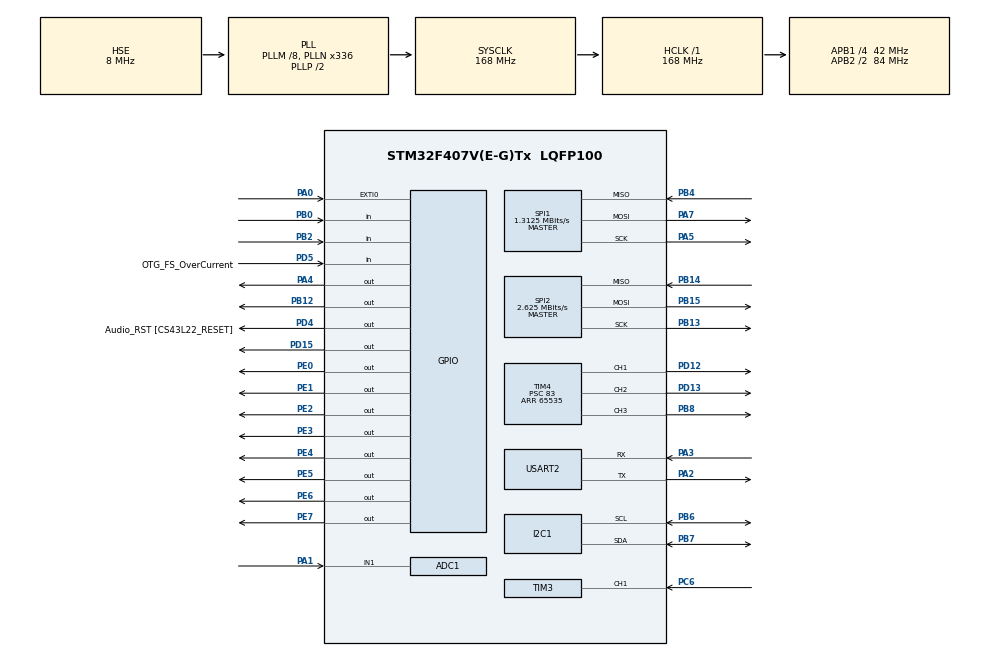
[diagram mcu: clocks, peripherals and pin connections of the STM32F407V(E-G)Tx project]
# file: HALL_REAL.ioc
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ADC1.Channel-0\#ChannelRegularConversion=ADC_CHANNEL_1
ADC1.NbrOfConversion=1
ADC1.NbrOfConversionFlag=1
ADC1.Rank-0\#ChannelRegularConversion=1
ADC1.SamplingTime-0\#ChannelRegularConversion=ADC_SAMPLETIME_3CYCLES
ADC1.master=1
FATFS._USE_LFN=1
I2C1.I2C_Mode=I2C_Fast
Mcu.Family=STM32F4
Mcu.Name=STM32F407V(E-G)Tx
Mcu.Package=LQFP100
NVIC.EXTI0_IRQn=true\:0\:0\:false\:false\:true\:true\:true\:true
NVIC.PriorityGroup=NVIC_PRIORITYGROUP_0
NVIC.TIM3_IRQn=true\:0\:0\:false\:false\:true\:true\:true\:true
NVIC.TIM7_IRQn=true\:0\:0\:false\:true\:true\:2\:true\:true\:true
NVIC.USART2_IRQn=true\:0\:0\:false\:false\:true\:true\:true\:true
PA0-WKUP.Signal=GPXTI0
PA1.Signal=ADCx_IN1
PA10.GPIO_Label=OTG_FS_ID
PA10.GPIO_Mode=GPIO_MODE_AF_PP
PA10.GPIO_PuPd=GPIO_NOPULL
PA10.GPIO_Speed=GPIO_SPEED_FREQ_LOW
PA10.Signal=USB_OTG_FS_ID
PA11.GPIO_Label=OTG_FS_DM
PA11.GPIO_Mode=GPIO_MODE_AF_PP
PA11.GPIO_PuPd=GPIO_NOPULL
PA11.GPIO_Speed=GPIO_SPEED_FREQ_LOW
PA11.Signal=USB_OTG_FS_DM
PA12.GPIO_Label=OTG_FS_DP
PA12.GPIO_Mode=GPIO_MODE_AF_PP
PA12.GPIO_PuPd=GPIO_NOPULL
PA12.GPIO_Speed=GPIO_SPEED_FREQ_LOW
PA12.Signal=USB_OTG_FS_DP
PA13.GPIO_Label=SWDIO
PA13.Mode=Serial_Wire
PA13.Signal=SYS_JTMS-SWDIO
PA14.GPIO_Label=SWCLK
PA14.Mode=Serial_Wire
PA14.Signal=SYS_JTCK-SWCLK
PA2.Mode=Asynchronous
PA2.Signal=USART2_TX
PA3.Mode=Asynchronous
PA3.Signal=USART2_RX
PA4.Signal=GPIO_Output
PA5.Mode=Full_Duplex_Master
PA5.Signal=SPI1_SCK
PA7.Mode=Full_Duplex_Master
PA7.Signal=SPI1_MOSI
PA9.GPIO_Label=VBUS_FS
PA9.GPIO_Mode=GPIO_MODE_INPUT
PA9.GPIO_PuPd=GPIO_NOPULL
PA9.Signal=USB_OTG_FS_VBUS
PB0.Signal=GPIO_Input
PB10.GPIO_Label=CLK_IN [MP45DT02_CLK]
PB10.GPIO_Mode=GPIO_MODE_AF_PP
PB10.GPIO_PuPd=GPIO_NOPULL
PB10.GPIO_Speed=GPIO_SPEED_FREQ_LOW
PB10.Signal=I2S2_CK
PB12.Signal=GPIO_Output
PB13.Mode=Full_Duplex_Master
PB13.Signal=SPI2_SCK
PB14.Mode=Full_Duplex_Master
PB14.Signal=SPI2_MISO
PB15.Mode=Full_Duplex_Master
PB15.Signal=SPI2_MOSI
PB2.Signal=GPIO_Input
PB3.GPIO_Label=SWO
PB3.Signal=SYS_JTDO-SWO
PB4.Mode=Full_Duplex_Master
PB4.Signal=SPI1_MISO
PB6.Mode=I2C
PB6.Signal=I2C1_SCL
PB7.Mode=I2C
PB7.Signal=I2C1_SDA
PB8.Signal=S_TIM4_CH3
PC10.GPIO_Label=I2S3_SCK [CS43L22_SCLK]
PC10.GPIO_Mode=GPIO_MODE_AF_PP
PC10.GPIO_PuPd=GPIO_NOPULL
PC10.GPIO_Speed=GPIO_SPEED_FREQ_LOW
PC10.Signal=I2S3_CK
PC12.GPIO_Label=I2S3_SD [CS43L22_SDIN]
PC12.GPIO_Mode=GPIO_MODE_AF_PP
PC12.GPIO_PuPd=GPIO_NOPULL
PC12.GPIO_Speed=GPIO_SPEED_FREQ_LOW
PC12.Signal=I2S3_SD
PC14-OSC32_IN.GPIO_Label=PC14-OSC32_IN
PC14-OSC32_IN.Mode=LSE-External-Oscillator
PC14-OSC32_IN.Signal=RCC_OSC32_IN
PC15-OSC32_OUT.GPIO_Label=PC15-OSC32_OUT
PC15-OSC32_OUT.Mode=LSE-External-Oscillator
PC15-OSC32_OUT.Signal=RCC_OSC32_OUT
PC6.Signal=S_TIM3_CH1
PC7.GPIO_Label=I2S3_MCK [CS43L22_MCLK]
PC7.GPIO_Mode=GPIO_MODE_AF_PP
PC7.GPIO_PuPd=GPIO_NOPULL
PC7.GPIO_Speed=GPIO_SPEED_FREQ_LOW
PC7.Signal=I2S3_MCK
PD12.Signal=S_TIM4_CH1
PD13.Signal=S_TIM4_CH2
PD15.Signal=GPIO_Output
PD4.GPIO_Label=Audio_RST [CS43L22_RESET]
PD4.GPIO_PuPd=GPIO_NOPULL
PD4.GPIO_Speed=GPIO_SPEED_FREQ_LOW
PD4.Signal=GPIO_Output
PD5.GPIO_Label=OTG_FS_OverCurrent
PD5.GPIO_Mode=GPIO_MODE_INPUT
PD5.GPIO_PuPd=GPIO_NOPULL
PD5.Signal=GPIO_Input
PE0.Signal=GPIO_Output
PE1.Signal=GPIO_Output
PE2.Signal=GPIO_Output
PE3.Signal=GPIO_Output
PE4.Signal=GPIO_Output
PE5.Signal=GPIO_Output
PE6.Signal=GPIO_Output
PE7.Signal=GPIO_Output
PH0-OSC_IN.GPIO_Label=PH0-OSC_IN
PH0-OSC_IN.Mode=HSE-External-Oscillator
PH0-OSC_IN.Signal=RCC_OSC_IN
PH1-OSC_OUT.GPIO_Label=PH1-OSC_OUT
PH1-OSC_OUT.Mode=HSE-External-Oscillator
PH1-OSC_OUT.Signal=RCC_OSC_OUT
ProjectManager.HeapSize=0x200
ProjectManager.StackSize=0x400
ProjectManager.TargetToolchain=STM32CubeIDE
RCC.48MHZClocksFreq_Value=48000000
RCC.AHBFreq_Value=168000000
RCC.APB1CLKDivider=RCC_HCLK_DIV4
RCC.APB1Freq_Value=42000000
RCC.APB1TimFreq_Value=84000000
RCC.APB2CLKDivider=RCC_HCLK_DIV2
RCC.APB2Freq_Value=84000000
RCC.APB2TimFreq_Value=168000000
RCC.CortexFreq_Value=168000000
RCC.HCLKFreq_Value=168000000
RCC.HSE_VALUE=8000000
RCC.HSI_VALUE=16000000
RCC.PLLM=8
RCC.PLLN=336
RCC.PLLQ=7
RCC.PLLSourceVirtual=RCC_PLLSOURCE_HSE
RCC.SYSCLKFreq_VALUE=168000000
RCC.SYSCLKSource=RCC_SYSCLKSOURCE_PLLCLK
RCC.VCOOutputFreq_Value=336000000
SH.ADCx_IN1.0=ADC1_IN1,IN1
SH.S_TIM3_CH1.0=TIM3_CH1,Input_Capture1_from_TI1
SH.S_TIM4_CH1.0=TIM4_CH1,PWM Generation1 CH1
SH.S_TIM4_CH2.0=TIM4_CH2,PWM Generation2 CH2
SH.S_TIM4_CH3.0=TIM4_CH3,PWM Generation3 CH3
SPI1.BaudRatePrescaler=SPI_BAUDRATEPRESCALER_64
SPI1.CLKPhase=SPI_PHASE_1EDGE
SPI1.CLKPolarity=SPI_POLARITY_LOW
SPI1.CalculateBaudRate=1.3125 MBits/s
SPI1.Direction=SPI_DIRECTION_2LINES
SPI1.Mode=SPI_MODE_MASTER
SPI1.VirtualType=VM_MASTER
SPI2.BaudRatePrescaler=SPI_BAUDRATEPRESCALER_16
SPI2.CalculateBaudRate=2.625 MBits/s
SPI2.Direction=SPI_DIRECTION_2LINES
SPI2.Mode=SPI_MODE_MASTER
SPI2.VirtualType=VM_MASTER
TIM10.Channel=TIM_CHANNEL_1
TIM10.Period=10000-1
TIM10.Prescaler=335
TIM10.Pulse=100
TIM2.Period=1000-1
TIM2.Prescaler=167
TIM3.Channel-Input_Capture1_from_TI1=TIM_CHANNEL_1
TIM3.Prescaler=83
TIM4.Channel-PWM\ Generation1\ CH1=TIM_CHANNEL_1
TIM4.Channel-PWM\ Generation2\ CH2=TIM_CHANNEL_2
TIM4.Channel-PWM\ Generation3\ CH3=TIM_CHANNEL_3
TIM4.Period=65535
TIM4.Prescaler=83
TIM4.Pulse-PWM\ Generation1\ CH1=21000-1
TIM4.Pulse-PWM\ Generation2\ CH2=10500-1
TIM4.Pulse-PWM\ Generation3\ CH3=5250-1
TIM5.Period=10000-1
TIM5.Prescaler=84-1
TIM7.Period=99
TIM7.Prescaler=8399
USART2.VirtualMode=VM_ASYNC
VP_FATFS_VS_Generic.Mode=User_defined
VP_TIM10_VS_ClockSourceINT.Mode=Enable_Timer
VP_TIM2_VS_ClockSourceINT.Mode=Internal
VP_TIM3_VS_ClockSourceINT.Mode=Internal
VP_TIM4_VS_ClockSourceINT.Mode=Internal
VP_TIM5_VS_ClockSourceINT.Mode=Internal
VP_TIM7_VS_ClockSourceINT.Mode=Enable_Timer
board=STM32F407G-DISC1

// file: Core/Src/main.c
/* USER CODE BEGIN Header */
/**
 ******************************************************************************
 * @file           : main.c
 * @brief          : VS10xx (VS1003/VS1053) + SD/FatFS MP3 streaming
 *                   - Scans /music for *.mp3 at boot (LFN-aware if enabled)
 *                   - Shows Title — Artist via ID3v1 if present
 *                   - Button gestures on PA0:
 *                       * Single click: Next
 *                       * Double click: Previous
 *                       * Long press:  Toggle Shuffle (and reshuffle)
 *                   - Live volume via ADC1_IN1 (PA1) potentiometer
 *                     (clockwise = louder; writes VS10xx SCI_VOL)
 ******************************************************************************
 */
/* USER CODE END Header */
#include "main.h"
#include "adc.h"
#include "i2c.h"
#include "spi.h"
#include "tim.h"
#include "usart.h"
#include "gpio.h"
#include "fatfs.h"

/* USER CODE BEGIN Includes */
#include <string.h>
#include <stdio.h>
#include <stdarg.h>
#include <ctype.h>
#include <stdlib.h>
#include "ff.h"
#include "MP3Sample.h"
/* USER CODE END Includes */

/* USER CODE BEGIN PTD */
typedef struct {
  char path[260];   // /music/filename.mp3 (allow LFN)
  char title[64];   // ID3v1 (optional)
  char artist[64];  // ID3v1 (optional)
} Track;

typedef struct { char title[31], artist[31]; } ID3v1;
/* USER CODE END PTD */

/* USER CODE BEGIN PD */
#define USE_SM_CANCEL   0

/* -------- VS10xx pin map (match CubeMX setup) -------- */
#define VS_XCS_PORT   GPIOA
#define VS_XCS_PIN    GPIO_PIN_4   // SCI CS
#define VS_XDCS_PORT  GPIOE
#define VS_XDCS_PIN   GPIO_PIN_3   // SDI CS
#define VS_RST_PORT   GPIOE
#define VS_RST_PIN    GPIO_PIN_2   // Reset
#define VS_DREQ_PORT  GPIOB
#define VS_DREQ_PIN   GPIO_PIN_0   // Data request (input)

/* SCI register addresses */
#define SCI_MODE      0x00
#define SCI_STATUS    0x01
#define SCI_CLOCKF    0x03
#define SCI_VOL       0x0B
#define SCI_HDAT0     0x08
#define SCI_HDAT1     0x09

/* SCI opcodes */
#define SCI_WRITE_OP  0x02
#define SCI_READ_OP   0x03

/* VS10xx MODE bits */
#define SM_SDINEW          (1<<11)
#define SM_CANCEL          (1<<3)

/* Pin macros */
#define VS_XCS_L()        HAL_GPIO_WritePin(VS_XCS_PORT,  VS_XCS_PIN,  GPIO_PIN_RESET)
#define VS_XCS_H()        HAL_GPIO_WritePin(VS_XCS_PORT,  VS_XCS_PIN,  GPIO_PIN_SET)
#define VS_XDCS_L()       HAL_GPIO_WritePin(VS_XDCS_PORT, VS_XDCS_PIN, GPIO_PIN_RESET)
#define VS_XDCS_H()       HAL_GPIO_WritePin(VS_XDCS_PORT, VS_XDCS_PIN, GPIO_PIN_SET)
#define VS_RST_L()        HAL_GPIO_WritePin(VS_RST_PORT,  VS_RST_PIN,  GPIO_PIN_RESET)
#define VS_RST_H()        HAL_GPIO_WritePin(VS_RST_PORT,  VS_RST_PIN,  GPIO_PIN_SET)
#define VS_DREQ_IS_H()   (HAL_GPIO_ReadPin(VS_DREQ_PORT, VS_DREQ_PIN) == GPIO_PIN_SET)

/* --- SD (SPI2) chip-select on PB12 --- */
#define SD_CS_PORT   GPIOB
#define SD_CS_PIN    GPIO_PIN_12
#define SD_CS_LOW()  HAL_GPIO_WritePin(SD_CS_PORT, SD_CS_PIN, GPIO_PIN_RESET)
#define SD_CS_HIGH() HAL_GPIO_WritePin(SD_CS_PORT, SD_CS_PIN, GPIO_PIN_SET)

/* SD commands (SPI mode) */
#define CMD0    (0x40+0)
#define CMD8    (0x40+8)
#define CMD55   (0x40+55)
#define CMD58   (0x40+58)
#define ACMD41  (0xC0+41)

/* Streaming params */
#define MP3_CHUNK   32u
#define BUF_SIZE    2048u

/* USER button (PA0 / EXTI0) — Discovery: pressed = HIGH */
#define BTN_PORT    GPIOA
#define BTN_PIN     GPIO_PIN_0

/* Playlist capacity */
#define MAX_TRACKS  128

/* Gesture timing */
#define BTN_LONG_MS     700u
#define BTN_DOUBLE_MS   350u

/* Volume control (ADC sampling) */
#define VOL_TASK_PERIOD_MS  80u      // update rate
#define VOL_STEP_HYST       2        // write SCI only if attenuation changed ≥2
#define VOL_MIN_ATT         0        // 0   = loudest   (0 dB)
#define VOL_MAX_ATT         254      // 254 = quiet/mute (~-127 dB)
/* USER CODE END PD */

/* USER CODE BEGIN PV */
extern SPI_HandleTypeDef hspi1;      // VS10xx (SPI1)
extern SPI_HandleTypeDef hspi2;      // SD (SPI2)
extern UART_HandleTypeDef huart2;
extern ADC_HandleTypeDef hadc1;

static uint8_t  s_buf[2][BUF_SIZE];  // double buffer
static Track    g_tracks[MAX_TRACKS];
static uint32_t g_track_count = 0;

/* Player control flags */
static volatile uint8_t  g_next_requested = 0;
static volatile uint8_t  g_prev_requested = 0;
static volatile uint8_t  g_shuffle_enabled = 0;

/* Button gesture state (polled) */
static uint8_t  g_btn_prev    = 0;     // idle low
static uint32_t g_btn_press_t = 0;
static uint32_t g_btn_last_up = 0;
static uint8_t  g_btn_clicks  = 0;
static uint8_t  g_btn_long_fired = 0;

/* Volume control state */
static int      g_vol_att      = 0x20;   // current attenuation (0..254), init ~ OK
static int      g_vol_att_last = -999;   // last written to VS10xx
/* USER CODE END PV */

void SystemClock_Config(void);
static void MX_NVIC_Init(void);
/* USER CODE BEGIN PFP */
static void uprintln(const char *fmt, ...);

/* VS10xx helpers */
static HAL_StatusTypeDef VS_SCI_Write(uint8_t reg, uint16_t val);
static HAL_StatusTypeDef VS_SCI_Read(uint8_t reg, uint16_t *out);
static void VS_HardReset(void);
static void VS_SDI_SendChunk(const uint8_t *p, uint16_t n);
static void VS_SendMusic(const uint8_t *buf, uint32_t len);
static void VS_SendZeros(uint16_t n);
static void VS_InitSimple(void);
static void VS_SetVolume(uint8_t att_left, uint8_t att_right);
#if USE_SM_CANCEL
static void VS_Cancel(void);
#endif

/* SD quick check (SPI mode) */
static uint8_t spi2_xchg(uint8_t b);
static uint8_t sd_send_cmd(uint8_t cmd, uint32_t arg);
static void   SD_SPI2_Check(void);

/* Player */
static int    PlayTrack(Track* t);

/* Playlist helpers */
static int    ends_with_ci(const char* s, const char* suf);
static int    ci_strcmp(const char* a, const char* b);
static int    cmp_tracks(const void* A, const void* B);
static void   BuildPlaylist(const char* dir);

/* Shuffle helpers */
static void   ShuffleTracks(void);
static uint32_t xorshift32(void);

/* ID3v1 */
static void   rtrim(char* s);
static int    ReadID3v1(FIL* f, ID3v1* out);

/* Button */
static void   ButtonTask(void);

/* Volume via ADC */
static int    ReadADC1_IN1_Filtered(void);
static void   VolumeTask(void);

/* FatFS mount retry */
static int    TryMount(void);
/* USER CODE END PFP */

/* USER CODE BEGIN 0 */
static void uprintln(const char *fmt, ...)
{
  char buf[200];
  va_list ap;
  va_start(ap, fmt);
  vsnprintf(buf, sizeof(buf), fmt, ap);
  va_end(ap);
  HAL_UART_Transmit(&huart2, (uint8_t*)buf, (uint16_t)strlen(buf), HAL_MAX_DELAY);
  const uint8_t crlf[2] = {'\r','\n'};
  HAL_UART_Transmit(&huart2, (uint8_t*)crlf, 2, HAL_MAX_DELAY);
}

/* ===== VS10xx inline driver bits ===== */
static HAL_StatusTypeDef VS_SCI_Write(uint8_t reg, uint16_t val)
{
  uint8_t tx[4] = {SCI_WRITE_OP, reg, (uint8_t)(val >> 8), (uint8_t)val};
  while (!VS_DREQ_IS_H());
  VS_XCS_L();
  HAL_StatusTypeDef s = HAL_SPI_Transmit(&hspi1, tx, sizeof(tx), HAL_MAX_DELAY);
  VS_XCS_H();
  return s;
}

static HAL_StatusTypeDef VS_SCI_Read(uint8_t reg, uint16_t *out)
{
  uint8_t tx[2] = {SCI_READ_OP, reg};
  uint8_t rx[2] = {0};
  while (!VS_DREQ_IS_H());
  VS_XCS_L();
  HAL_StatusTypeDef s = HAL_SPI_Transmit(&hspi1, tx, 2, HAL_MAX_DELAY);
  s |= HAL_SPI_Receive(&hspi1, rx, 2, HAL_MAX_DELAY);
  VS_XCS_H();
  *out = ((uint16_t)rx[0] << 8) | rx[1];
  return s;
}

static void VS_HardReset(void)
{
  VS_XCS_H();
  VS_XDCS_H();
  VS_RST_L();
  HAL_Delay(5);
  VS_RST_H();
  uint32_t t0 = HAL_GetTick();
  while (!VS_DREQ_IS_H()) {
    if (HAL_GetTick() - t0 > 300) { uprintln("ERR: DREQ timeout"); break; }
  }
}

/* send ≤32 bytes when DREQ is high */
static void VS_SDI_SendChunk(const uint8_t *p, uint16_t n)
{
  while (n) {
    while (!VS_DREQ_IS_H());
    uint16_t chunk = (n > MP3_CHUNK) ? MP3_CHUNK : n;
    VS_XDCS_L();
    HAL_SPI_Transmit(&hspi1, (uint8_t*)p, chunk, HAL_MAX_DELAY);
    VS_XDCS_H();
    p += chunk;
    n -= chunk;
  }
}

/* stream whole buffer */
static void VS_SendMusic(const uint8_t *buf, uint32_t len)
{
  uint32_t i = 0;
  while (i < len) {
    uint16_t chunk = (len - i > 512) ? 512 : (uint16_t)(len - i);
    VS_SDI_SendChunk(&buf[i], chunk);
    i += chunk;
  }
}

/* small end-fill to flush decoder */
static void VS_SendZeros(uint16_t n)
{
  uint8_t z[32] = {0};
  while (n) {
    uint16_t c = (n > sizeof(z)) ? sizeof(z) : n;
    VS_SDI_SendChunk(z, c);
    n -= c;
  }
}

/* Minimal VS init */
static void VS_InitSimple(void)
{
  VS_HardReset();
  VS_SCI_Write(SCI_MODE, SM_SDINEW);
  HAL_Delay(2);

  uint16_t mode=0, status=0, clockf=0;
  VS_SCI_Read(SCI_MODE,   &mode);
  VS_SCI_Read(SCI_STATUS, &status);
  VS_SCI_Read(SCI_CLOCKF, &clockf);
  uprintln("SCI_MODE  = 0x%04X", mode);
  uprintln("SCI_STATUS= 0x%04X", status);
  uprintln("SCI_CLOCKF= 0x%04X", clockf);

  uprintln("Set CLOCKF & VOL...");
  VS_SCI_Write(SCI_CLOCKF, 0x8800);       // x3.0 multiplier typical
  VS_SetVolume(0x20, 0x20);               // start moderate (~-10 dB each)
  HAL_Delay(20);
}

/* VS10xx volume helper (attenuation per channel) */
static void VS_SetVolume(uint8_t att_left, uint8_t att_right)
{
  uint16_t v = ((uint16_t)att_left << 8) | att_right;
  VS_SCI_Write(SCI_VOL, v);
}

#if USE_SM_CANCEL
/* Optional: smooth cancel to avoid pops on skip */
static void VS_Cancel(void)
{
  uint16_t mode;
  VS_SCI_Read(SCI_MODE, &mode);
  VS_SCI_Write(SCI_MODE, mode | SM_CANCEL);
  uint32_t t0 = HAL_GetTick();
  for (;;) {
    uint16_t h0=1, h1=1;
    static const uint8_t zero8[8] = {0};
    VS_SDI_SendChunk(zero8, sizeof(zero8));
    VS_SCI_Read(SCI_HDAT0, &h0);
    VS_SCI_Read(SCI_HDAT1, &h1);
    if (h0 == 0 && h1 == 0) break;
    if (HAL_GetTick() - t0 > 800) { uprintln("SM_CANCEL timeout"); break; }
  }
  VS_SendZeros(2052);  // end-fill
  VS_SCI_Read(SCI_MODE, &mode);
  VS_SCI_Write(SCI_MODE, mode & ~SM_CANCEL);
}
#endif

/* ===== SD quick-check helpers (SPI mode) ===== */
static uint8_t spi2_xchg(uint8_t b)
{
  uint8_t rx;
  HAL_SPI_TransmitReceive(&hspi2, &b, &rx, 1, HAL_MAX_DELAY);
  return rx;
}

static uint8_t sd_send_cmd(uint8_t cmd, uint32_t arg)
{
  uint8_t res, pkt[6];
  if (cmd & 0x80) {
    cmd &= 0x7F;
    res = sd_send_cmd(CMD55, 0);
    if (res > 1) return res;
  }
  SD_CS_HIGH(); spi2_xchg(0xFF);
  SD_CS_LOW();  spi2_xchg(0xFF);

  pkt[0] = cmd;
  pkt[1] = (uint8_t)(arg >> 24);
  pkt[2] = (uint8_t)(arg >> 16);
  pkt[3] = (uint8_t)(arg >> 8);
  pkt[4] = (uint8_t)(arg);
  pkt[5] = (cmd == CMD0) ? 0x95 : (cmd == CMD8 ? 0x87 : 0x01);
  HAL_SPI_Transmit(&hspi2, pkt, 6, HAL_MAX_DELAY);

  for (int i = 0; i < 10; i++) {
    res = spi2_xchg(0xFF);
    if (!(res & 0x80)) return res;
  }
  return 0xFF;
}

static void SD_SPI2_Check(void)
{
  SD_CS_HIGH();
  for (int i = 0; i < 10; i++) spi2_xchg(0xFF);

  uint8_t r1 = sd_send_cmd(CMD0, 0);
  uint8_t r7[5] = {0}, ver = 0;
  if (r1 == 0x01) {
    r1 = sd_send_cmd(CMD8, 0x1AA);
    r7[0] = r1;
    for (int i = 1; i < 5; i++) r7[i] = spi2_xchg(0xFF);
    if (r7[0] == 0x01 && r7[3] == 0x01 && r7[4] == 0xAA) ver = 2;
  }

  uint32_t t0 = HAL_GetTick();
  do {
    r1 = sd_send_cmd(ACMD41, ver ? (1UL << 30) : 0);
    if (r1 == 0x00) break;
  } while ((HAL_GetTick() - t0) < 1500);

  (void)sd_send_cmd(CMD58, 0);
  uint8_t ocr[4];
  for (int i = 0; i < 4; i++) ocr[i] = spi2_xchg(0xFF);
  SD_CS_HIGH(); spi2_xchg(0xFF);

  uint32_t ocr32 = ((uint32_t)ocr[0] << 24) | ((uint32_t)ocr[1] << 16) |
                   ((uint32_t)ocr[2] << 8) | ocr[3];
  int ccs = (ocr[0] & 0x40) ? 1 : 0;

  uprintln("=== SPI2 microSD Quick Check ===");
  uprintln("SD_VERSION=%s  ACMD41=%s  OCR=0x%08lX  CCS=%d",
           ver ? "V2" : "V1/Unknown",
           (r1 == 0x00) ? "OK" : "FAIL",
           (unsigned long)ocr32, ccs);
}

/* ===== ID3v1 helpers ===== */
static void rtrim(char* s){
  size_t n = strlen(s);
  while (n && (s[n-1] == ' ' || s[n-1] == '\0')) s[--n] = '\0';
}

static int ReadID3v1(FIL* f, ID3v1* out)
{
  if (f_size(f) < 128) return 0;
  FSIZE_t cur = f_tell(f);
  if (f_lseek(f, f_size(f) - 128) != FR_OK) return 0;
  UINT br=0; uint8_t tag[128];
  if (f_read(f, tag, 128, &br) != FR_OK || br != 128) { (void)f_lseek(f, cur); return 0; }
  if (memcmp(tag, "TAG", 3) != 0)        { (void)f_lseek(f, cur); return 0; }
  memcpy(out->title,  tag + 3,  30); out->title[30]  = 0; rtrim(out->title);
  memcpy(out->artist, tag + 33, 30); out->artist[30] = 0; rtrim(out->artist);
  (void)f_lseek(f, cur);
  return 1;
}

/* ===== Shuffle helpers ===== */
static uint32_t g_rng = 0xC001BEEF;
static uint32_t xorshift32(void){
  uint32_t x = g_rng;
  x ^= x << 13; x ^= x >> 17; x ^= x << 5;
  g_rng = x ? x : 0x1234567u;
  return g_rng;
}
static void ShuffleTracks(void){
  if (g_track_count < 2) return;
  for (int i = (int)g_track_count - 1; i > 0; --i){
    int j = (int)(xorshift32() % (uint32_t)(i + 1));
    if (j != i){
      Track tmp = g_tracks[i];
      g_tracks[i] = g_tracks[j];
      g_tracks[j] = tmp;
    }
  }
}

/* ===== Playlist scanning ===== */
static int ends_with_ci(const char* s, const char* suf)
{
  size_t ls = strlen(s), lsf = strlen(suf);
  if (ls < lsf) return 0;
  for (size_t i = 0; i < lsf; ++i) {
    char a = s[ls - lsf + i], b = suf[i];
    if (a >= 'A' && a <= 'Z') a += 'a' - 'A';
    if (b >= 'A' && b <= 'Z') b += 'a' - 'A';
    if (a != b) return 0;
  }
  return 1;
}
static int ci_strcmp(const char* a, const char* b)
{
  while (*a || *b) {
    unsigned char ca = (unsigned char)*a, cb = (unsigned char)*b;
    if (ca >= 'A' && ca <= 'Z') ca += 'a' - 'A';
    if (cb >= 'A' && cb <= 'Z') cb += 'a' - 'A';
    if (ca != cb) return (int)ca - (int)cb;
    if (*a) ++a;
    if (*b) ++b;
  }
  return 0;
}
static int cmp_tracks(const void* A, const void* B)
{
  const Track* a = (const Track*)A;
  const Track* b = (const Track*)B;
  return ci_strcmp(a->path, b->path);   // sort by path (alphabetical)
}
static void BuildPlaylist(const char* dir)
{
  DIR d; FILINFO fno;
  g_track_count = 0;
#if FF_USE_LFN
  static char lfn[256];
  fno.lfname = lfn;
  fno.lfsize = sizeof(lfn);
#endif
  if (f_opendir(&d, dir) != FR_OK) {
    uprintln("ERR: cannot open %s", dir);
    return;
  }
  for (;;) {
    FRESULT fr = f_readdir(&d, &fno);
    if (fr != FR_OK || fno.fname[0] == 0) break;
#if FF_USE_LFN
    const char* name = (fno.lfname && fno.lfname[0]) ? fno.lfname : fno.fname;
#else
    const char* name = fno.fname;
#endif
    if (fno.fattrib & AM_DIR) continue;
    if (!ends_with_ci(name, ".mp3")) continue;

    if (g_track_count < MAX_TRACKS) {
      snprintf(g_tracks[g_track_count].path,
               sizeof(g_tracks[g_track_count].path),
               "%s/%s", dir, name);
      g_tracks[g_track_count].title[0]  = 0;
      g_tracks[g_track_count].artist[0] = 0;
      g_track_count++;
    } else {
      uprintln("Playlist full (%d)", MAX_TRACKS);
      break;
    }
  }
  f_closedir(&d);
  if (g_track_count > 1) {
    qsort(g_tracks, g_track_count, sizeof(Track), cmp_tracks);
  }
  uprintln("Playlist built: %lu track(s)", (unsigned long)g_track_count);
}

/* ===== Volume (ADC) ===== */
static int ReadADC1_IN1_Filtered(void)
{
  static int filt = -1;
  HAL_ADC_Start(&hadc1);
  HAL_ADC_PollForConversion(&hadc1, HAL_MAX_DELAY);
  int raw = (int)HAL_ADC_GetValue(&hadc1);   // 0..4095
  HAL_ADC_Stop(&hadc1);
  if (filt < 0) filt = raw;
  // simple IIR
  filt = (filt * 3 + raw) / 4;
  return filt;
}

/* Map pot (0..4095) -> attenuation (0..254), invert so clockwise = louder. */
static void VolumeTask(void)
{
  static uint32_t last_ms = 0;
  uint32_t now = HAL_GetTick();
  if ((now - last_ms) < VOL_TASK_PERIOD_MS) return;
  last_ms = now;

  int raw = ReadADC1_IN1_Filtered();      // 0..4095
  // percentage
  int pct = (raw * 100 + 2047) / 4095;    // 0..100
  if (pct < 0) pct = 0; if (pct > 100) pct = 100;

  // attenuation: 0 (loudest) .. 254 (quietest), use full span
  int att = (int)((100 - pct) * VOL_MAX_ATT / 100); // 100% -> 0, 0% -> 254

  // write only on meaningful change to reduce I2S/SCI traffic
  if (g_vol_att_last < 0 || (att >= g_vol_att_last + VOL_STEP_HYST) || (att <= g_vol_att_last - VOL_STEP_HYST)) {
    g_vol_att = att;
    VS_SetVolume((uint8_t)g_vol_att, (uint8_t)g_vol_att);
    g_vol_att_last = g_vol_att;
    // Optional: print occasionally
    static uint8_t print_div = 0;
    if ((print_div++ & 0x07) == 0) {
      uprintln("VOL: pot=%4d  ~%3d%%  att=%d (0=loud)", raw, pct, g_vol_att);
    }
  }
}

/* ===== Player: SD -> VS10xx (double buffer) ===== */
/* Return: 0 = normal EOF, 1 = aborted (skip/prev) */
static int PlayTrack(Track* t)
{
  FIL f; FRESULT fr; UINT br = 0;
  uint8_t a = 0;

  fr = f_open(&f, t->path, FA_READ);
  if (fr != FR_OK) {
    uprintln("ERR: f_open %s (%d)", t->path, fr);
    uprintln("Fallback: playing embedded sample.");
    VS_SendMusic(sampleMp3, sampleMp3_len);
    VS_SendZeros(2052);
    return 0;
  }

  /* ID3v1 (if present) */
  ID3v1 id = {0};
  if (ReadID3v1(&f, &id)) {
    if (id.title[0])  strncpy(t->title,  id.title,  sizeof(t->title));
    if (id.artist[0]) strncpy(t->artist, id.artist, sizeof(t->artist));
  }
  (void)f_lseek(&f, 0);

  if (t->title[0] || t->artist[0]) {
    uprintln("♪ %s — %s",
             t->title[0]  ? t->title  : "(no title)",
             t->artist[0] ? t->artist : "(no artist)");
  }
  uprintln("▶ %s", t->path);

  fr = f_read(&f, s_buf[a], BUF_SIZE, &br);
  if (fr != FR_OK || br == 0) { f_close(&f); uprintln("ERR: empty/rd"); return 0; }

  while (1) {
    ButtonTask();         // gestures while streaming
    VolumeTask();         // live volume from ADC
    if (g_next_requested || g_prev_requested)
      { uprintln("⏭/⏮ request"); break; }

    uint8_t n = a ^ 1;
    UINT br_next = 0;
    FRESULT fr_next = f_read(&f, s_buf[n], BUF_SIZE, &br_next);

    uint32_t i = 0;
    while (i < br) {
      ButtonTask();
      VolumeTask();
      if (g_next_requested || g_prev_requested)
        { uprintln("⏭/⏮ abort during feed"); goto abort_now; }
      if (VS_DREQ_IS_H()) {
        uint32_t take = (br - i > MP3_CHUNK) ? MP3_CHUNK : (br - i);
        VS_SDI_SendChunk(&s_buf[a][i], (uint16_t)take);
        i += take;
      }
    }
    if (fr_next != FR_OK || br_next == 0) break;  // EOF
    a = n; br = br_next;
  }

abort_now:
  f_close(&f);
  if (g_next_requested || g_prev_requested) {
#if USE_SM_CANCEL
    VS_Cancel();
#else
    VS_SendZeros(2048);
#endif
    return 1;
  }
  VS_SendZeros(2048);     // normal EOF tail
  uprintln("✅ Done");
  return 0;
}

/* ===== Button gestures (polled) ===== */
static void ButtonTask(void){
  uint8_t now = (HAL_GPIO_ReadPin(BTN_PORT, BTN_PIN) == GPIO_PIN_SET);
  uint32_t t   = HAL_GetTick();

  if (!g_btn_prev && now){
    g_btn_press_t = t;
    g_btn_long_fired = 0;
    if (t - g_btn_last_up <= BTN_DOUBLE_MS) g_btn_clicks = 2;
    else                                    g_btn_clicks = 1;
  }

  if (now && !g_btn_long_fired) {
    if (t - g_btn_press_t >= BTN_LONG_MS) {
      g_btn_long_fired = 1;
      g_shuffle_enabled ^= 1;
      uprintln("Shuffle %s", g_shuffle_enabled ? "ON" : "OFF");
      if (g_shuffle_enabled) ShuffleTracks();
      g_btn_clicks = 0;   // long press wins
    }
  }

  if (g_btn_prev && !now){
    g_btn_last_up = t;
    if (!g_btn_long_fired){
      if (g_btn_clicks == 2){
        g_prev_requested = 1;   // double -> previous
        g_btn_clicks = 0;
      }
    }
  }

  if (g_btn_clicks == 1 && (t - g_btn_last_up) > BTN_DOUBLE_MS && !now){
    g_next_requested = 1;       // single -> next
    g_btn_clicks = 0;
  }

  g_btn_prev = now;
}

/* EXTI callback: kept empty (we poll) */
void HAL_GPIO_EXTI_Callback(uint16_t GPIO_Pin)
{
  (void)GPIO_Pin;
}

/* --- SD/FatFS mount retry helper ----------------------------------------- */
static int TryMount(void)
{
  for (int i = 0; i < 5; i++) {
    FRESULT r = f_mount(&USERFatFS, USERPath, 1);
    if (r == FR_OK) return 1;
    uprintln("f_mount retry %d (%d)", i + 1, r);
    HAL_Delay(500);
  }
  return 0;
}
/* USER CODE END 0 */

/* ------------------------------------------------------------------------- */
/*                                   main                                    */
/* ------------------------------------------------------------------------- */
int main(void)
{
  HAL_Init();
  SystemClock_Config();

  MX_GPIO_Init();
  MX_TIM7_Init();
  MX_TIM4_Init();
  MX_TIM10_Init();
  MX_TIM2_Init();
  MX_TIM5_Init();
  MX_ADC1_Init();           // <-- PA1 pot
  MX_TIM3_Init();
  MX_I2C1_Init();
  MX_USART2_UART_Init();
  MX_SPI1_Init();           // VS10xx on SPI1
  MX_SPI2_Init();           // SD card on SPI2
  MX_FATFS_Init();
  MX_NVIC_Init();

  /* Seed PRNG for shuffle (include tick) */
  g_rng ^= HAL_GetTick();

  uprintln("VS1003/VS1053 + SD/FatFS MP3 streaming starting...");
  SD_CS_HIGH();
  SD_SPI2_Check();

  if (!TryMount()) {
    uprintln("f_mount FAILED -> fallback to embedded sample");
    VS_InitSimple();
    // also set initial volume from pot once
    VolumeTask();
    uprintln("♪ Now Playing: Embedded Sample");
    VS_SendMusic(sampleMp3, sampleMp3_len);
    VS_SendZeros(2052);
    while (1) { VolumeTask(); HAL_Delay(50); }
  }

  uprintln("f_mount OK");
  VS_InitSimple();
  // set initial volume from pot right after init
  for (int i=0;i<6;i++){ VolumeTask(); HAL_Delay(30); }
  SD_CS_HIGH();

  /* Scan /music */
  BuildPlaylist("/music");
  if (g_track_count == 0) {
    uprintln("No MP3s in /music -> playing embedded sample");
    uprintln("Tip: enable LFN in ffconf.h (FF_USE_LFN = 1 or 3).");
    VS_SendMusic(sampleMp3, sampleMp3_len);
    VS_SendZeros(2052);
    while (1) { VolumeTask(); HAL_Delay(100); }
  }

  uint32_t idx = 0;
  while (1) {
    if (g_tracks[idx].title[0] || g_tracks[idx].artist[0]) {
      uprintln("♪ Now Playing: %s — %s",
               g_tracks[idx].title[0]  ? g_tracks[idx].title  : "(no title)",
               g_tracks[idx].artist[0] ? g_tracks[idx].artist : "(no artist)");
    } else {
      uprintln("♪ Now Playing: %s", g_tracks[idx].path);
    }

    (void)PlayTrack(&g_tracks[idx]);

    if (g_prev_requested) {
      g_prev_requested = 0;
      if (idx == 0) idx = g_track_count - 1;
      else          idx = (idx - 1);
    } else {
      idx = (idx + 1) % g_track_count;  // default next
      g_next_requested = 0;
    }
    HAL_Delay(20);
  }
}

/* ------------------------------------------------------------------------- */
/*                             Support Functions                              */
/* ------------------------------------------------------------------------- */
static void MX_NVIC_Init(void)
{
  HAL_NVIC_SetPriority(TIM7_IRQn, 0, 0);
  HAL_NVIC_EnableIRQ(TIM7_IRQn);
  HAL_NVIC_SetPriority(EXTI0_IRQn, 1, 0);
  HAL_NVIC_EnableIRQ(EXTI0_IRQn);
}

/* System Clock Configuration: HSE + PLL @ 168 MHz */
void SystemClock_Config(void)
{
  RCC_OscInitTypeDef RCC_OscInitStruct = {0};
  RCC_ClkInitTypeDef RCC_ClkInitStruct = {0};

  __HAL_RCC_PWR_CLK_ENABLE();
  __HAL_PWR_VOLTAGESCALING_CONFIG(PWR_REGULATOR_VOLTAGE_SCALE1);

  RCC_OscInitStruct.OscillatorType = RCC_OSCILLATORTYPE_HSE;
  RCC_OscInitStruct.HSEState       = RCC_HSE_ON;
  RCC_OscInitStruct.PLL.PLLState   = RCC_PLL_ON;
  RCC_OscInitStruct.PLL.PLLSource  = RCC_PLLSOURCE_HSE;
  RCC_OscInitStruct.PLL.PLLM       = 8;
  RCC_OscInitStruct.PLL.PLLN       = 336;
  RCC_OscInitStruct.PLL.PLLP       = RCC_PLLP_DIV2;
  RCC_OscInitStruct.PLL.PLLQ       = 7;
  if (HAL_RCC_OscConfig(&RCC_OscInitStruct) != HAL_OK) { Error_Handler(); }

  RCC_ClkInitStruct.ClockType      = RCC_CLOCKTYPE_HCLK | RCC_CLOCKTYPE_SYSCLK
                                   | RCC_CLOCKTYPE_PCLK1| RCC_CLOCKTYPE_PCLK2;
  RCC_ClkInitStruct.SYSCLKSource   = RCC_SYSCLKSOURCE_PLLCLK;
  RCC_ClkInitStruct.AHBCLKDivider  = RCC_SYSCLK_DIV1;
  RCC_ClkInitStruct.APB1CLKDivider = RCC_HCLK_DIV4;
  RCC_ClkInitStruct.APB2CLKDivider = RCC_HCLK_DIV2;
  if (HAL_RCC_ClockConfig(&RCC_ClkInitStruct, FLASH_LATENCY_5) != HAL_OK) { Error_Handler(); }
}

void Error_Handler(void)
{
  __disable_irq();
  while (1) { }
}
